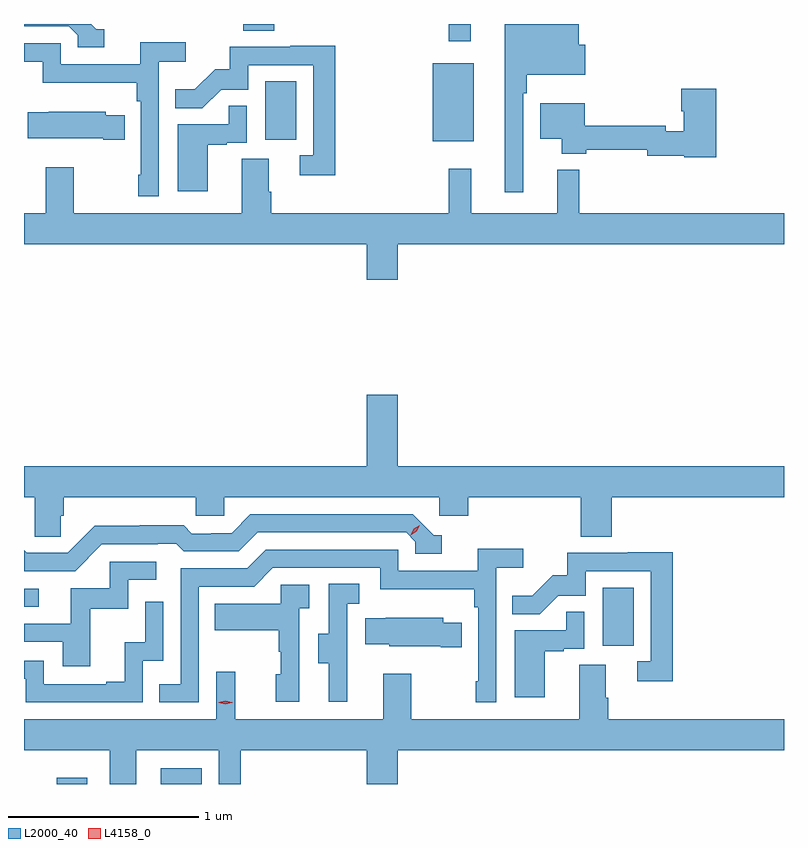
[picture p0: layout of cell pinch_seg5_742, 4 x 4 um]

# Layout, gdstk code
import gdstk
lib = gdstk.Library(unit=1e-6, precision=1e-09)
def R(c, l, rs):  # rectangles x0, y0, x1, y1
    for r in rs: c.add(gdstk.rectangle(r[:2], r[2:], *l))
def P(c, l, *ps):  # polygons
    for p in ps: c.add(gdstk.Polygon(p, *l))
L2000_40 = (2000, 40)
L4158_0 = (4158, 0)

pinch_seg5_742 = lib.new_cell('pinch_seg5_742')
R(pinch_seg5_742, L2000_40, [(858.68,909.863,858.841,909.895), (859.227,909.863,859.444,909.946), (861.554,910.59,861.718,910.897), (858.508,910.797,858.586,910.89), (860.66,913.247,860.875,913.657), (859.778,913.254,859.942,913.561), (860.743,913.773,860.86,913.863), (859.661,913.828,859.826,913.863)])
P(pinch_seg5_742, L2000_40, [(861.135,913.499),(861.155,913.499),(861.155,913.595),(861.463,913.595),(861.463,913.753),(861.428,913.753),(861.428,913.863),(861.038,913.863),(861.038,912.978),(861.135,912.978)],
  [(858.931,913.836),(858.888,913.836),(858.861,913.863),(858.508,913.863),(858.508,913.851),(858.744,913.851),(858.792,913.803),(858.792,913.74),(858.931,913.74)],
  [(859.218,913.664),(859.36,913.664),(859.36,913.766),(859.121,913.766),(859.121,913.65),(858.702,913.65),(858.702,913.761),(858.508,913.761),(858.508,913.665),(858.606,913.665),(858.606,913.553),(859.102,913.553),(859.102,913.457),(859.122,913.457),(859.122,913.069),(859.11,913.069),(859.11,912.957),(859.218,912.957)],
  [(860.147,913.748),(859.909,913.748),(859.909,913.743),(859.591,913.743),(859.591,913.626),(859.514,913.626),(859.407,913.519),(859.303,913.519),(859.303,913.42),(859.447,913.42),(859.545,913.518),(859.689,913.518),(859.689,913.647),(860.031,913.647),(860.031,913.173),(859.959,913.173),(859.959,913.068),(860.147,913.068)],
  [(862.151,913.522),(861.968,913.522),(861.968,913.405),(861.98,913.405),(861.98,913.298),(861.886,913.298),(861.886,913.328),(861.46,913.328),(861.46,913.447),(861.224,913.447),(861.224,913.259),(861.338,913.259),(861.338,913.181),(861.468,913.181),(861.468,913.2),(861.788,913.2),(861.788,913.17),(861.984,913.17),(861.984,913.162),(862.151,913.162)],
  [(859.474,913.227),(859.574,913.227),(859.574,913.239),(859.68,913.239),(859.68,913.433),(859.585,913.433),(859.585,913.335),(859.316,913.335),(859.316,912.984),(859.474,912.984)],
  [(859.037,913.384),(858.939,913.384),(858.939,913.402),(858.637,913.402),(858.637,913.399),(858.529,913.399),(858.529,913.262),(858.926,913.262),(858.926,913.255),(859.037,913.255)],
  [(860.476,912.704),(862.508,912.704),(862.508,912.868),(861.431,912.868),(861.431,913.096),(861.314,913.096),(861.314,912.868),(860.861,912.868),(860.861,913.102),(860.743,913.102),(860.743,912.868),(859.808,912.868),(859.808,912.98),(859.795,912.98),(859.795,913.154),(859.655,913.154),(859.655,912.868),(858.771,912.868),(858.771,913.108),(858.623,913.108),(858.623,912.868),(858.508,912.868),(858.508,912.704),(860.312,912.704),(860.312,912.516),(860.476,912.516)],
  [(858.701,911.274),(858.716,911.274),(858.716,911.372),(859.413,911.372),(859.413,911.274),(859.563,911.274),(859.563,911.372),(860.694,911.372),(860.694,911.274),(860.846,911.274),(860.846,911.372),(861.437,911.372),(861.437,911.164),(861.602,911.164),(861.602,911.372),(862.508,911.372),(862.508,911.536),(860.476,911.536),(860.476,911.911),(860.312,911.911),(860.312,911.536),(858.508,911.536),(858.508,911.372),(858.564,911.372),(858.564,911.164),(858.701,911.164)],
  [(858.918,911.124),(859.211,911.124),(859.211,911.127),(859.31,911.127),(859.349,911.088),(859.638,911.088),(859.737,911.187),(860.52,911.187),(860.568,911.139),(860.568,911.076),(860.707,911.076),(860.707,911.172),(860.664,911.172),(860.553,911.283),(859.7,911.283),(859.601,911.184),(859.494,911.184),(859.494,911.181),(859.391,911.181),(859.349,911.224),(859.116,911.224),(859.116,911.221),(858.88,911.221),(858.738,911.079),(858.522,911.079),(858.508,911.093),(858.508,910.983),(858.777,910.983)],
  [(859.428,910.902),(859.719,910.902),(859.818,911.001),(860.382,911.001),(860.382,910.889),(860.878,910.889),(860.878,910.793),(860.898,910.793),(860.898,910.405),(860.886,910.405),(860.886,910.293),(860.994,910.293),(860.994,911),(861.136,911),(861.136,911.102),(860.897,911.102),(860.897,910.986),(860.478,910.986),(860.478,911.097),(859.781,911.097),(859.682,910.998),(859.332,910.998),(859.332,910.389),(859.219,910.389),(859.219,910.293),(859.428,910.293)],
  [(861.923,911.084),(861.685,911.084),(861.685,911.079),(861.367,911.079),(861.367,910.962),(861.29,910.962),(861.183,910.855),(861.079,910.855),(861.079,910.756),(861.223,910.756),(861.321,910.854),(861.465,910.854),(861.465,910.983),(861.807,910.983),(861.807,910.509),(861.735,910.509),(861.735,910.404),(861.923,910.404)],
  [(858.857,910.785),(859.056,910.785),(859.056,910.938),(859.204,910.938),(859.204,911.034),(858.96,911.034),(858.96,910.893),(858.755,910.893),(858.755,910.707),(858.508,910.707),(858.508,910.611),(858.713,910.611),(858.713,910.482),(858.857,910.482)],
  [(860.21,910.509),(860.208,910.509),(860.208,910.813),(860.272,910.813),(860.272,910.916),(860.112,910.916),(860.112,910.653),(860.057,910.653),(860.057,910.498),(860.111,910.498),(860.111,910.296),(860.21,910.296)],
  [(859.956,910.787),(860.008,910.787),(860.008,910.911),(859.86,910.911),(859.86,910.813),(859.513,910.813),(859.513,910.673),(859.848,910.673),(859.848,910.559),(859.858,910.559),(859.858,910.44),(859.832,910.44),(859.832,910.296),(859.956,910.296)],
  [(859.134,910.512),(859.242,910.512),(859.242,910.822),(859.146,910.822),(859.146,910.61),(859.037,910.61),(859.037,910.402),(858.941,910.402),(858.941,910.389),(858.612,910.389),(858.612,910.512),(858.508,910.512),(858.508,910.416),(858.516,910.416),(858.516,910.293),(859.134,910.293)],
  [(861.25,910.563),(861.35,910.563),(861.35,910.575),(861.456,910.575),(861.456,910.769),(861.361,910.769),(861.361,910.671),(861.092,910.671),(861.092,910.32),(861.25,910.32)],
  [(860.813,910.711),(860.715,910.711),(860.715,910.738),(860.413,910.738),(860.413,910.735),(860.305,910.735),(860.305,910.598),(860.43,910.598),(860.43,910.589),(860.702,910.589),(860.702,910.582),(860.813,910.582)],
  [(859.099,910.04),(859.533,910.04),(859.533,909.863),(859.649,909.863),(859.649,910.04),(860.312,910.04),(860.312,909.863),(860.476,909.863),(860.476,910.04),(862.508,910.04),(862.508,910.204),(861.584,910.204),(861.584,910.316),(861.571,910.316),(861.571,910.49),(861.431,910.49),(861.431,910.204),(860.547,910.204),(860.547,910.444),(860.399,910.444),(860.399,910.204),(859.619,910.204),(859.619,910.453),(859.521,910.453),(859.521,910.204),(858.508,910.204),(858.508,910.04),(858.959,910.04),(858.959,909.863),(859.099,909.863)])
P(pinch_seg5_742, L4158_0, [(860.543,911.173),(860.543,911.174),(860.56,911.206),(860.59,911.225),(860.591,911.225),(860.591,911.225),(860.574,911.193),(860.544,911.173)],
  [(859.568,910.282),(859.533,910.291),(859.533,910.292),(859.533,910.292),(859.568,910.302),(859.603,910.292),(859.603,910.292),(859.603,910.291)])

lib.write_gds('pinch_seg5_742.gds')
